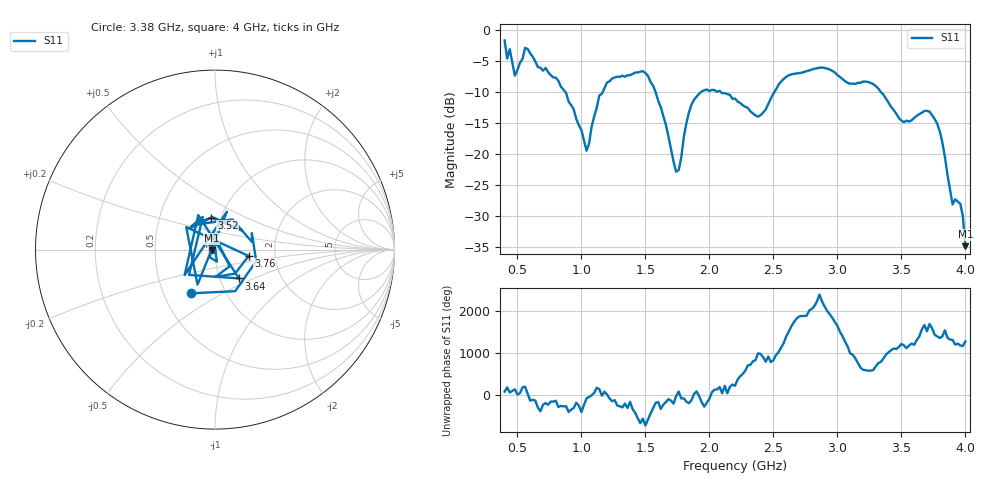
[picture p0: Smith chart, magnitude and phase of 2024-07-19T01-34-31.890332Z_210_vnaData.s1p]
!Created with skrf (http://scikit-rf.org).
# Hz S RI R 50.0
!freq ReS11 ImS11
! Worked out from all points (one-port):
!   181 points, 400 MHz to 4 GHz, reference 50 ohm
!   lowest |S11| = -34.9 dB at 4 GHz (marker M1), VSWR 1.04, Z = 48.3 - j0.338 ohm
!   |S11| at or under -10 dB: 1.579 GHz to 1.939 GHz (359.9 MHz wide, 20.5 % of centre); 2.087 GHz to 2.51 GHz (423.2 MHz wide, 18.4 % of centre); 3.337 GHz to end of sweep (the widest 3 of 5)
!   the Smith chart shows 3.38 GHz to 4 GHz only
!   S11 on the Smith chart (normalised r, x): 3.38 GHz: 0.69, -0.36; 3.52 GHz: 0.90, +0.33; 3.64 GHz: 1.23, -0.41; 3.76 GHz: 1.46, -0.11; 4 GHz: 0.97, -0.01
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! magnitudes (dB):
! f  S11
! 400 MHz  -1.8
! 480 MHz  -7.4
! 560 MHz  -2.9
! 860 MHz  -9.7
! 1.04 GHz  -19.5
! 1.14 GHz  -10.6
! 1.3 GHz  -7.6
! 1.52 GHz  -7.5
! 1.62 GHz  -12.5
! 1.74 GHz  -22.9
! 1.76 GHz  -22.6
! 1.82 GHz  -15.1
! 1.88 GHz  -11.3
! 1.98 GHz  -9.7
! 2.2 GHz  -11.1
! 2.38 GHz  -14.0
! 2.66 GHz  -7.1
! 2.9 GHz  -6.2
! 3.1 GHz  -8.7
! 3.38 GHz  -11.1
! 3.52 GHz  -14.9
! 3.56 GHz  -14.8
! 3.64 GHz  -13.6
! 3.76 GHz  -14.4
! 3.82 GHz  -18.2
! 3.9 GHz  -28.2
! 3.96 GHz  -28.0
! 4 GHz  -34.9
